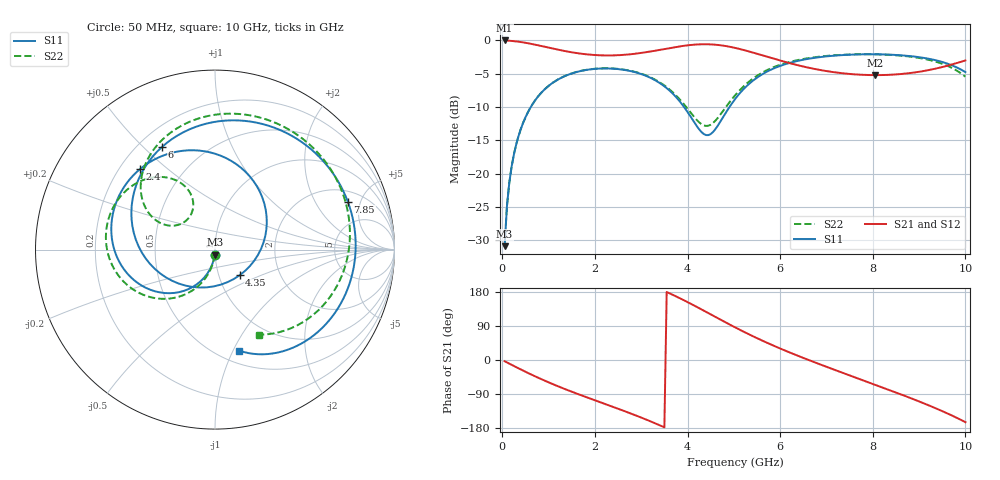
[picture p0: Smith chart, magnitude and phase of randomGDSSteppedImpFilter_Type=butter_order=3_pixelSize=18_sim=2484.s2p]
! freq	dB(S11)	phase(S11)	dB(S12)	phase(S12)
!  dB(S21)	phase(S21)	dB(S22)	phase(S22)
!S-par simulation data
#  GHz  S  DB  R 50
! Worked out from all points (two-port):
!   200 points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, 50 MHz to 10 GHz, reference 50 ohm
!   highest |S21| = -0.01 dB at 50 MHz (marker M1); lowest = -5.2 dB at 8.05 GHz (marker M2)
!   |S21| within 3 dB of the highest: start of sweep to 5.99 GHz
!   lowest |S11| = -30.9 dB at 50 MHz (marker M3), VSWR 1.06, Z = 49.7 - j2.83 ohm
!   |S11| at or under -10 dB: start of sweep to 617.1 MHz; 3.924 GHz to 4.906 GHz (982.1 MHz wide, 22.2 % of centre)
!   |S22| runs from -30.9 to -2.1 dB; largest |S21 - S12| = 0
!   S11 on the Smith chart (normalised r, x): 50 MHz: 0.99, -0.06; 2.4 GHz: 0.28, +0.41; 4.35 GHz: 1.25, -0.37; 6 GHz: 0.29, +0.57; 7.85 GHz: 2.74, +3.84; 10 GHz: 0.62, -1.05
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0.05  -30.91 -93.6  -0.01 -3.2  -0.01 -3.2  -30.91 -93.2
0.1  -24.93 -97.2  -0.02 -6.4  -0.02 -6.4  -24.92 -96.4
0.2  -19.02 -104.2  -0.08 -12.7  -0.08 -12.7  -19.01 -102.4
0.5  -11.57 -123.7  -0.36 -31.0  -0.36 -31.0  -11.56 -119.4
1.05  -6.57 -156.7  -1.16 -61.6  -1.16 -61.6  -6.56 -147.4
1.75  -4.52 166.0  -2.04 -95.2  -2.04 -95.2  -4.50 -177.3
2.4  -4.25 132.8  -2.25 -124.1  -2.25 -124.1  -4.22 158.4
2.95  -4.94 102.1  -1.93 -149.5  -1.93 -149.5  -4.89 138.9
3.4  -6.40 72.4  -1.42 -172.3  -1.42 -172.3  -6.29 123.9
3.9  -9.77 27.3  -0.83 159.0  -0.83 159.0  -9.40 113.6
4.35  -14.06 -46.3  -0.58 130.4  -0.58 130.4  -12.77 128.9
4.7  -12.30 -120.9  -0.72 107.3  -0.72 107.3  -11.23 151.1
5.05  -8.60 -167.8  -1.16 84.7  -1.16 84.7  -8.06 152.6
5.5  -5.60 152.1  -2.01 57.6  -2.01 57.6  -5.31 139.8
6  -3.83 117.5  -3.03 30.4  -3.03 30.4  -3.66 121.0
6.7  -2.66 77.0  -4.23 -4.0  -4.23 -4.0  -2.57 93.8
7.2  -2.27 51.2  -4.81 -27.1  -4.81 -27.1  -2.22 74.1
7.85  -2.08 19.9  -5.19 -56.3  -5.19 -56.3  -2.07 47.8
8.05  -2.09 10.6  -5.22 -65.2  -5.22 -65.2  -2.09 39.4
8.35  -2.14 -3.0  -5.17 -78.8  -5.17 -78.8  -2.16 26.4
9.2  -2.74 -40.8  -4.47 -119.2  -4.47 -119.2  -2.91 -14.0
10  -4.76 -76.6  -3.01 -164.0  -3.01 -164.0  -5.46 -62.7
